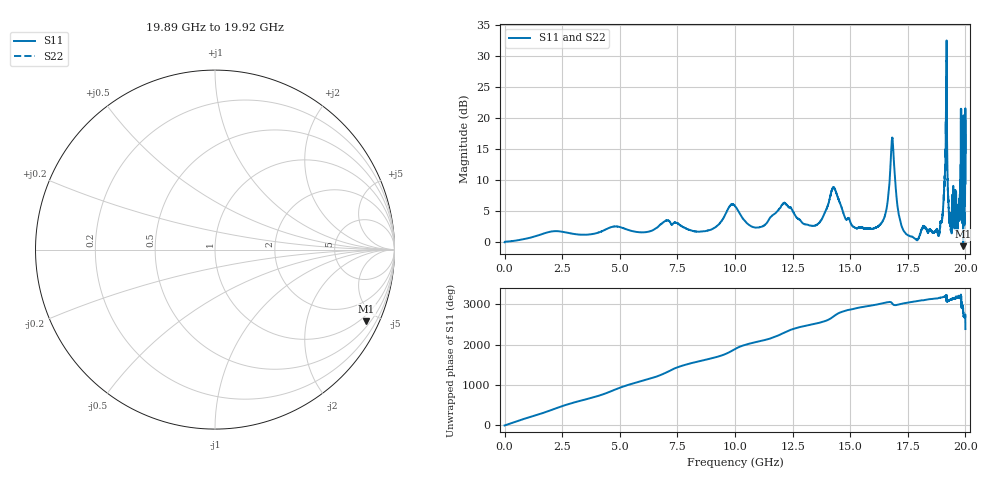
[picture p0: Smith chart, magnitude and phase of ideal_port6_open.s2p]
! Created with skrf (http://scikit-rf.org).
# GHz S RI R 50.0
!freq ReS11 ImS11 ReS21 ImS21 ReS12 ImS12 ReS22 ImS22
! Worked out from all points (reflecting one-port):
!   10001 points, 1 MHz to 20 GHz, reference 50 ohm
!   lowest |S11| = -0.6 dB at 19.91 GHz (marker M1), VSWR 28.88, Z = 35 - j217 ohm
!   phase of S11 starts at 1 deg and turns +2381 deg over the sweep
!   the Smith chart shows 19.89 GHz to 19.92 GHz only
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0.001  1.004 0.00877  0 0  0 0  1.004 0.00877
3.334833  -0.2581 -1.125  0 0  0 0  -0.2581 -1.125
5.864707  1.204 0.0768  0 0  0 0  1.204 0.0768
6.668667  -1.083 0.7923  0 0  0 0  -1.083 0.7923
7.482626  1.418 -0.1906  0 0  0 0  1.418 -0.1906
9.382531  0.3097 -1.424  0 0  0 0  0.3097 -1.424
10.0005  0.0328 1.963  0 0  0 0  0.0328 1.963
10.84046  -0.4241 -1.252  0 0  0 0  -0.4241 -1.252
11.65842  1.628 0.3626  0 0  0 0  1.628 0.3626
12.31438  -1.929 -0.00863  0 0  0 0  -1.929 -0.00863
13.33433  1.204 -0.6266  0 0  0 0  1.204 -0.6266
14.28429  -2.752 0.1878  0 0  0 0  -2.752 0.1878
15.00025  1.373 -0.516  0 0  0 0  1.373 -0.516
16.66817  -2.455 0.4784  0 0  0 0  -2.455 0.4784
16.89816  -0.5406 4.449  0 0  0 0  -0.5406 4.449
17.30413  -0.8821 0.8935  0 0  0 0  -0.8821 0.8935
18.94805  0.2781 -1.441  0 0  0 0  0.2781 -1.441
19.10404  1.482 -2.897  0 0  0 0  1.482 -2.897
19.28804  -1.449 -0.729  0 0  0 0  -1.449 -0.729
19.68402  0.6302 -1.426  0 0  0 0  0.6302 -1.426
19.906  0.843 -0.4  0 0  0 0  0.843 -0.4
20  -3.959 -3.443  0 0  0 0  -3.959 -3.443
